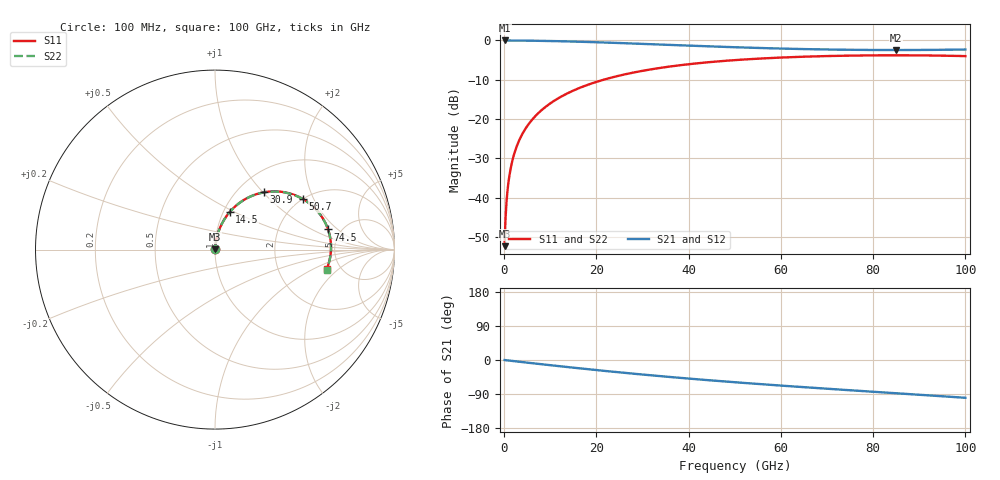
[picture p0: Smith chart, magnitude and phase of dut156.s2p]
! Touchstone file exported from HFSS 2026.1.0
!  File:  C:/ffzhzh/LocalFiles/Ansys_Project_Files/temp_train_RDL_156_1783499998_9504.aedt
!  Generated:  04:41:14 PM Jul  8, 2026
!  Design:  RDL
!  Project:  temp_train_RDL_156_1783499998_9504
! Variables:
!  h_bsmrdl = 2um
!  h_ox = 20um
!  h_rdl = 5um
!  h_sub = 80um
!  h_tmrdl = 4.57um
!  h_tsv = 80um
!  h_via = 3um
!  l_bsmrdl = 300um
!  l_sub = 730.97um
!  l_tmrdl = 330.97um
!  m_sub = 200um
!  pitch = 51.57um
!  r_tsv = 6um
!  s_tmrdl = 10um
!  w_bsmrdl = 18um
!  w_sub = 500um
!  w_tmrdl = 16.29um
!  x_tsv_center1 = 339.115um
!  x_tsv_center2 = 657.115um
!  x_tsv_center3 = 1004.375um
!  x_tsv_center4 = 1322.375um
!  x_tsv_center5 = 1669.635um
!  x_tsv_center6 = 1987.635um
# GHz S MA R 50.000000
! Terminal data exported
! Port[1] = TM_RDL1_1_T1
! Port[2] = TM_RDL1_1_T2
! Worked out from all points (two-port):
!   1000 points, 100 MHz to 100 GHz, reference 50 ohm
!   highest |S21| = -0.01 dB at 100 MHz (marker M1); lowest = -2.4 dB at 84.9 GHz (marker M2)
!   |S21| within 3 dB of the highest: start of sweep to end of sweep
!   lowest |S11| = -52.3 dB at 100 MHz (marker M3), VSWR 1.00, Z = 50.2 + j0.175 ohm
!   |S11| at or under -10 dB: start of sweep to 21.54 GHz
!   |S22| runs from -52.3 to -3.8 dB; largest |S21 - S12| = 5.9e-15
!   S11 on the Smith chart (normalised r, x): 100 MHz: 1.00, +0.00; 14.5 GHz: 1.07, +0.47; 30.9 GHz: 1.30, +1.01; 50.7 GHz: 2.00, +1.66; 74.5 GHz: 3.95, +1.50; 100 GHz: 3.90, -1.39
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0.1  0.002429 45.7  0.9983 -0.1  0.9983 -0.1  0.002429 45.7
! Gamma 0 0 0 0
! Port Impedance 50 0 50 0
0.8  0.01353 80.5  0.9979 -1.1  0.9979 -1.1  0.01353 80.4
1  0.0168 81.7  0.9978 -1.4  0.9978 -1.4  0.0168 81.6
1.3  0.02172 82.6  0.9977 -1.8  0.9977 -1.8  0.02172 82.6
1.7  0.02829 83.1  0.9974 -2.4  0.9974 -2.4  0.02829 83.1
2.2  0.03647 83.2  0.997 -3.1  0.997 -3.1  0.03647 83.2
3.5  0.05757 82.2  0.9954 -4.9  0.9954 -4.9  0.05757 82.2
5.3  0.08625 80.2  0.9926 -7.4  0.9926 -7.4  0.08625 80.2
7.7  0.1235 77.2  0.9877 -10.6  0.9877 -10.6  0.1235 77.2
10.8  0.1702 73.4  0.9798 -14.8  0.9798 -14.8  0.1702 73.3
14.5  0.2234 68.8  0.9683 -19.6  0.9683 -19.6  0.2234 68.7
16.8  0.2551 65.9  0.9601 -22.6  0.9601 -22.6  0.2551 65.9
23.2  0.3362 58.3  0.9341 -30.5  0.9341 -30.5  0.3362 58.2
30.9  0.4196 49.5  0.8994 -39.4  0.8994 -39.4  0.4196 49.5
33.4  0.4432 46.9  0.8879 -42.1  0.8879 -42.1  0.4433 46.8
50.1  0.5622 30.5  0.8183 -58.8  0.8183 -58.8  0.5622 30.3
50.7  0.5653 29.9  0.8162 -59.3  0.8162 -59.3  0.5653 29.8
66.7  0.6251 16.3  0.772 -73.1  0.772 -73.1  0.6252 16.1
74.5  0.6399 10.1  0.7601 -79.4  0.7601 -79.4  0.6399 9.9
83.4  0.6466 3.2  0.7544 -86.5  0.7544 -86.5  0.6467 2.9
84.9  0.6468 2.1  0.7542 -87.6  0.7542 -87.6  0.6468 1.8
100  0.6314 -9.8  0.7664 -99.7  0.7664 -99.7  0.6315 -10.1
